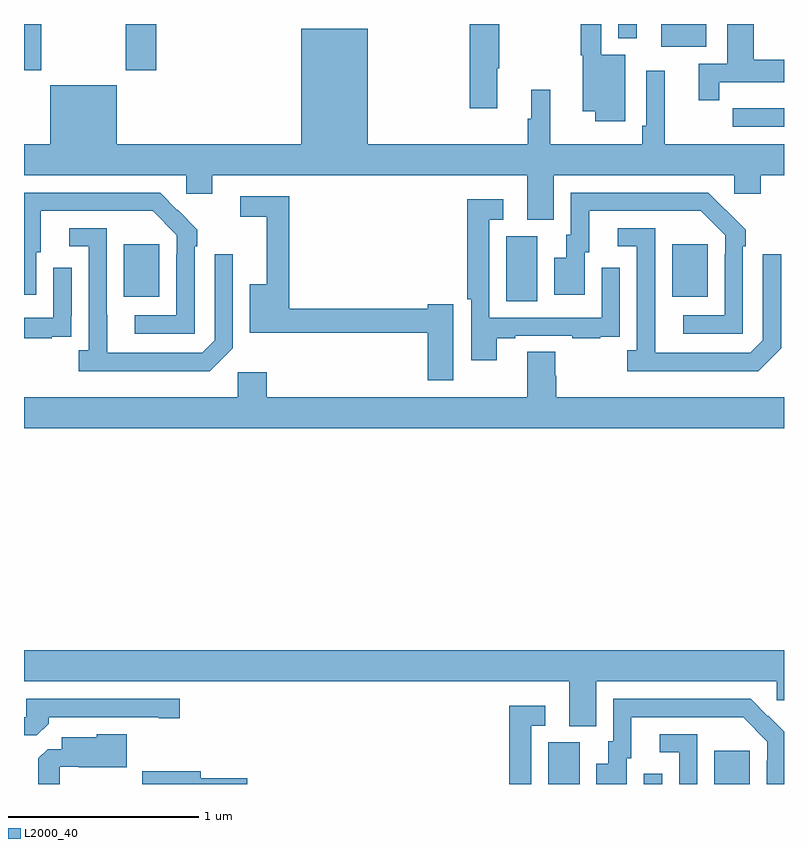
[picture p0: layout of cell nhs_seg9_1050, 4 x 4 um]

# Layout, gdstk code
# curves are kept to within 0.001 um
import gdstk
lib = gdstk.Library(unit=1e-6, precision=1e-09)
def R(c, l, rs):  # rectangles x0, y0, x1, y1
    for r in rs: c.add(gdstk.rectangle(r[:2], r[2:], *l))
def P(c, l, *ps):  # polygons
    for p in ps: c.add(gdstk.Polygon(p, *l))
L2000_40 = (2000, 40)

nhs_seg9_1050 = lib.new_cell('nhs_seg9_1050')
R(nhs_seg9_1050, L2000_40, [(169.76,1242.5,169.924,1242.72), (170.262,1242.5,170.358,1242.553), (170.633,1242.5,170.821,1242.676), (169.538,1245.04,169.702,1245.384), (167.525,1245.065,167.713,1245.34), (170.411,1245.065,170.599,1245.34), (167,1246.257,167.091,1246.5), (167.536,1246.257,167.696,1246.5), (170.354,1246.379,170.59,1246.5), (170.127,1246.424,170.224,1246.5)])
P(nhs_seg9_1050, L2000_40, [(169.492,1246.268),(169.5,1246.268),(169.5,1246.5),(169.346,1246.5),(169.346,1246.056),(169.492,1246.056)],
  [(170.164,1246.339),(170.037,1246.339),(170.037,1246.5),(169.929,1246.5),(169.929,1246.335),(169.94,1246.335),(169.94,1246.04),(170.006,1246.04),(170.006,1245.987),(170.164,1245.987)],
  [(170.66,1246.194),(171,1246.194),(171,1246.311),(170.842,1246.311),(170.842,1246.5),(170.702,1246.5),(170.702,1246.29),(170.552,1246.29),(170.552,1246.098),(170.66,1246.098)],
  [(169.789,1245.704),(170.739,1245.704),(170.739,1245.606),(170.878,1245.606),(170.878,1245.704),(171,1245.704),(171,1245.868),(170.372,1245.868),(170.372,1246.255),(170.274,1246.255),(170.274,1245.964),(170.254,1245.964),(170.254,1245.868),(169.77,1245.868),(169.77,1246.153),(169.67,1246.153),(169.67,1246.002),(169.651,1246.002),(169.651,1245.868),(168.808,1245.868),(168.808,1246.474),(168.458,1246.474),(168.458,1245.868),(167.488,1245.868),(167.488,1246.177),(167.138,1246.177),(167.138,1245.868),(167,1245.868),(167,1245.704),(167.853,1245.704),(167.853,1245.606),(167.992,1245.606),(167.992,1245.704),(169.649,1245.704),(169.649,1245.469),(169.789,1245.469)],
  [(171,1246.057),(170.842,1246.057),(170.842,1246.056),(170.73,1246.056),(170.73,1245.96),(171,1245.96)],
  [(167.898,1245.329),(167.913,1245.329),(167.913,1245.417),(167.716,1245.612),(167,1245.612),(167,1245.075),(167.065,1245.075),(167.065,1245.3),(167.089,1245.3),(167.089,1245.516),(167.677,1245.516),(167.805,1245.387),(167.805,1245.287),(167.802,1245.287),(167.802,1244.967),(167.583,1244.967),(167.583,1244.871),(167.898,1244.871)],
  [(170.784,1245.329),(170.799,1245.329),(170.799,1245.417),(170.602,1245.612),(169.878,1245.612),(169.878,1245.39),(169.853,1245.39),(169.853,1245.271),(169.79,1245.271),(169.79,1245.075),(169.951,1245.075),(169.951,1245.3),(169.975,1245.3),(169.975,1245.516),(170.563,1245.516),(170.691,1245.387),(170.691,1245.287),(170.688,1245.287),(170.688,1244.967),(170.469,1244.967),(170.469,1244.871),(170.784,1244.871)],
  [(169.258,1245.025),(169.124,1245.025),(169.124,1245.002),(168.395,1245.002),(168.395,1245.594),(168.138,1245.594),(168.138,1245.486),(168.278,1245.486),(168.278,1245.13),(168.188,1245.13),(168.188,1244.874),(169.124,1244.874),(169.124,1244.625),(169.258,1244.625)],
  [(169.489,1244.847),(169.585,1244.847),(169.585,1244.859),(169.885,1244.859),(169.885,1244.847),(170.033,1244.847),(170.033,1244.853),(170.135,1244.853),(170.135,1244.962),(170.136,1244.962),(170.136,1245.217),(170.04,1245.217),(170.04,1244.955),(169.449,1244.955),(169.449,1245.471),(169.522,1245.471),(169.522,1245.577),(169.333,1245.577),(169.333,1245.153),(169.334,1245.153),(169.334,1245.052),(169.353,1245.052),(169.353,1244.73),(169.489,1244.73)],
  [(168.099,1244.793),(168.099,1245.289),(168.003,1245.289),(168.003,1244.835),(167.937,1244.769),(167.437,1244.769),(167.436,1245.426),(167.238,1245.426),(167.238,1245.33),(167.34,1245.33),(167.34,1244.782),(167.289,1244.782),(167.289,1244.672),(167.978,1244.672)],
  [(170.985,1244.793),(170.985,1245.289),(170.889,1245.289),(170.889,1244.835),(170.823,1244.769),(170.323,1244.769),(170.322,1245.426),(170.124,1245.426),(170.124,1245.33),(170.226,1245.33),(170.226,1244.782),(170.175,1244.782),(170.175,1244.672),(170.864,1244.672)],
  [(167.147,1244.853),(167.249,1244.853),(167.249,1244.962),(167.25,1244.962),(167.25,1245.217),(167.154,1245.217),(167.154,1244.955),(167,1244.955),(167,1244.847),(167.147,1244.847)],
  [(171,1244.536),(169.802,1244.536),(169.802,1244.649),(169.797,1244.649),(169.797,1244.774),(169.649,1244.774),(169.649,1244.536),(168.278,1244.536),(168.278,1244.668),(168.126,1244.668),(168.126,1244.536),(167,1244.536),(167,1244.372),(171,1244.372)],
  [(170.011,1243.04),(170.961,1243.04),(170.961,1242.942),(171,1242.942),(171,1243.204),(167,1243.204),(167,1243.04),(169.871,1243.04),(169.871,1242.805),(170.011,1242.805)],
  [(167.129,1242.818),(167.129,1242.852),(167.708,1242.852),(167.708,1242.847),(167.821,1242.847),(167.821,1242.948),(167.013,1242.948),(167.013,1242.852),(167,1242.852),(167,1242.756),(167.067,1242.756)],
  [(170.173,1242.636),(170.197,1242.636),(170.197,1242.852),(170.785,1242.852),(170.913,1242.723),(170.913,1242.623),(170.91,1242.623),(170.91,1242.5),(171,1242.5),(171,1242.774),(170.824,1242.948),(170.1,1242.948),(170.1,1242.726),(170.075,1242.726),(170.075,1242.607),(170.012,1242.607),(170.012,1242.5),(170.173,1242.5)],
  [(169.671,1242.807),(169.744,1242.807),(169.744,1242.913),(169.555,1242.913),(169.555,1242.5),(169.671,1242.5)],
  [(167.187,1242.591),(167.287,1242.591),(167.287,1242.587),(167.542,1242.587),(167.542,1242.763),(167.382,1242.763),(167.382,1242.745),(167.198,1242.745),(167.198,1242.684),(167.124,1242.684),(167.075,1242.635),(167.075,1242.5),(167.187,1242.5)],
  [(170.544,1242.762),(170.346,1242.762),(170.346,1242.666),(170.448,1242.666),(170.448,1242.5),(170.544,1242.5)],
  [(168.175,1242.53),(167.929,1242.53),(167.929,1242.568),(167.622,1242.568),(167.622,1242.5),(168.175,1242.5)])

lib.write_gds('nhs_seg9_1050.gds')
